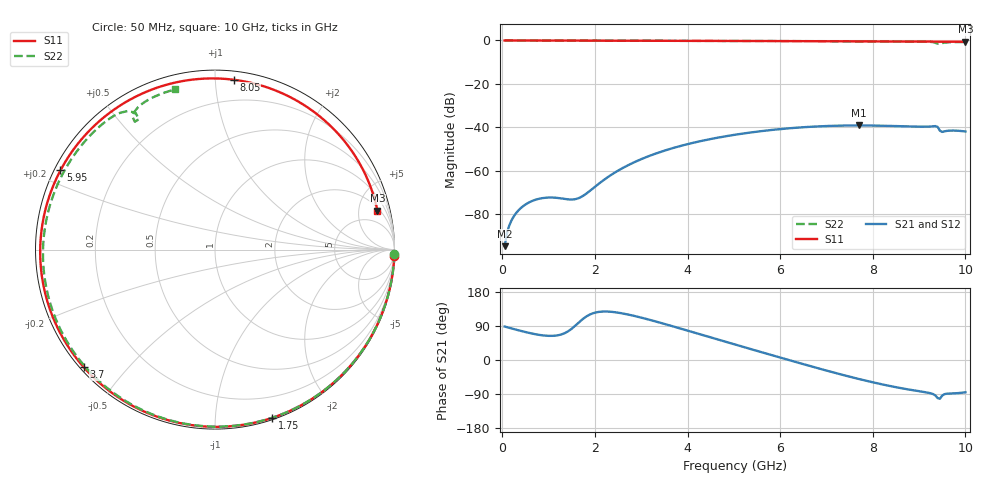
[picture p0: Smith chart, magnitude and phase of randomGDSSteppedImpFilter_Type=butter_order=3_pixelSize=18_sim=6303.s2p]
! freq	dB(S11)	phase(S11)	dB(S12)	phase(S12)
!  dB(S21)	phase(S21)	dB(S22)	phase(S22)
!S-par simulation data
#  GHz  S  DB  R 50
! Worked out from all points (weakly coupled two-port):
!   200 points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, 50 MHz to 10 GHz, reference 50 ohm
!   highest |S21| = -39.14 dB at 7.7 GHz (marker M1); lowest = -94.7 dB at 50 MHz (marker M2)
!   lowest |S11| = -0.6 dB at 10 GHz (marker M3), VSWR 27.90, Z = 119 + j387 ohm
!   |S11| at or under -10 dB: nowhere
!   |S22| runs from -1.5 to 0.0 dB; largest |S21 - S12| = 0
!   S11 on the Smith chart (normalised r, x): 50 MHz: 0, -54; 1.75 GHz: 0.01, -1.40; 3.7 GHz: 0.01, -0.38; 5.95 GHz: 0.02, +0.24; 8.05 GHz: 0.06, +1.12; 10 GHz: 2.38, +7.74
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0.05  -0.00 -2.1  -94.70 88.3  -94.70 88.3  -0.00 -1.4
0.25  -0.02 -10.6  -80.92 81.6  -80.92 81.6  -0.01 -6.7
0.5  -0.03 -21.1  -75.53 73.7  -75.53 73.7  -0.02 -13.4
0.8  -0.04 -33.5  -72.85 66.2  -72.85 66.2  -0.03 -21.3
1.5  -0.08 -61.6  -73.22 82.6  -73.22 82.6  -0.05 -39.6
1.75  -0.09 -71.2  -71.46 109.2  -71.46 109.2  -0.06 -46.1
2.55  -0.12 -100.2  -59.32 123.9  -59.32 123.9  -0.08 -66.2
3.4  -0.15 -128.6  -51.44 98.7  -51.44 98.7  -0.11 -86.8
3.7  -0.16 -138.2  -49.45 88.3  -49.45 88.3  -0.13 -93.9
4.4  -0.19 -159.9  -45.80 63.2  -45.80 63.2  -0.16 -110.2
5.05  -0.23 -179.6  -43.32 40.0  -43.32 40.0  -0.19 -125.1
5.95  -0.29 152.8  -40.91 8.2  -40.91 8.2  -0.25 -145.8
6.7  -0.33 129.1  -39.69 -17.8  -39.69 -17.8  -0.31 -163.5
7.2  -0.37 112.7  -39.26 -34.5  -39.26 -34.5  -0.35 -175.7
7.7  -0.40 95.8  -39.14 -50.2  -39.14 -50.2  -0.40 171.5
8.05  -0.43 83.7  -39.20 -60.2  -39.20 -60.2  -0.44 162.2
8.35  -0.45 73.1  -39.34 -68.1  -39.34 -68.1  -0.47 153.8
8.9  -0.50 53.4  -39.66 -80.4  -39.66 -80.4  -0.52 137.4
9.25  -0.53 40.7  -39.62 -87.9  -39.62 -87.9  -0.66 124.6
9.4  -0.54 35.2  -39.77 -100.4  -39.77 -100.4  -1.51 120.2
9.5  -0.55 31.6  -42.11 -93.8  -42.11 -93.8  -1.22 121.9
10  -0.62 13.5  -41.91 -85.1  -41.91 -85.1  -0.73 104.0
